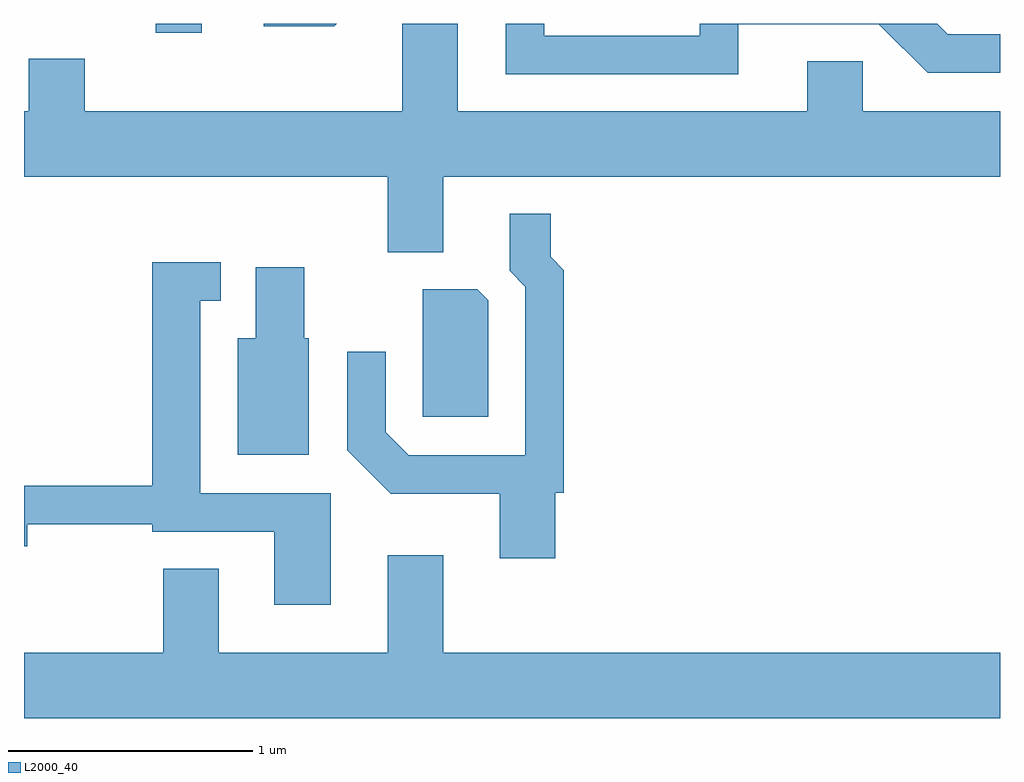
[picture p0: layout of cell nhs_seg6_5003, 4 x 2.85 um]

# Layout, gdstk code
import gdstk
lib = gdstk.Library(unit=1e-6, precision=1e-09)
def R(c, l, rs):  # rectangles x0, y0, x1, y1
    for r in rs: c.add(gdstk.rectangle(r[:2], r[2:], *l))
def P(c, l, *ps):  # polygons
    for p in ps: c.add(gdstk.Polygon(p, *l))
L2000_40 = (2000, 40)

nhs_seg6_5003 = lib.new_cell('nhs_seg6_5003')
R(nhs_seg6_5003, L2000_40, [(338.151,1606.126,338.339,1606.162)])
P(nhs_seg6_5003, L2000_40, [(339.329,1605.536),(341.611,1605.536),(341.611,1605.804),(341.049,1605.804),(341.049,1606.009),(340.821,1606.009),(340.821,1605.804),(339.389,1605.804),(339.389,1606.162),(339.161,1606.162),(339.161,1605.804),(337.859,1605.804),(337.859,1606.019),(337.631,1606.019),(337.631,1605.804),(337.611,1605.804),(337.611,1605.536),(339.101,1605.536),(339.101,1605.226),(339.329,1605.226)],
  [(340.539,1606.161),(341.114,1606.161),(341.314,1605.961),(341.611,1605.961),(341.611,1606.119),(341.397,1606.119),(341.354,1606.162),(340.381,1606.162),(340.381,1606.114),(339.744,1606.114),(339.744,1606.162),(339.586,1606.162),(339.586,1605.956),(340.539,1605.956)],
  [(338.893,1606.162),(338.593,1606.162),(338.593,1606.151),(338.882,1606.151)],
  [(339.789,1604.241),(339.824,1604.241),(339.824,1605.152),(339.769,1605.207),(339.769,1605.383),(339.601,1605.383),(339.601,1605.149),(339.666,1605.084),(339.666,1604.394),(339.187,1604.394),(339.094,1604.487),(339.094,1604.818),(338.936,1604.818),(338.936,1604.414),(339.114,1604.236),(339.561,1604.236),(339.561,1603.971),(339.789,1603.971)],
  [(338.869,1604.239),(338.334,1604.239),(338.334,1605.026),(338.418,1605.026),(338.418,1605.184),(338.136,1605.184),(338.136,1604.269),(337.611,1604.269),(337.611,1604.021),(337.624,1604.021),(337.624,1604.111),(338.136,1604.111),(338.136,1604.081),(338.636,1604.081),(338.636,1603.781),(338.869,1603.781)],
  [(338.779,1604.874),(338.759,1604.874),(338.759,1605.164),(338.561,1605.164),(338.561,1604.874),(338.486,1604.874),(338.486,1604.396),(338.779,1604.396)],
  [(339.514,1605.029),(339.469,1605.074),(339.246,1605.074),(339.246,1604.551),(339.514,1604.551)],
  [(341.611,1603.584),(339.329,1603.584),(339.329,1603.984),(339.101,1603.984),(339.101,1603.584),(338.409,1603.584),(338.409,1603.929),(338.181,1603.929),(338.181,1603.584),(337.611,1603.584),(337.611,1603.316),(341.611,1603.316)])

lib.write_gds('nhs_seg6_5003.gds')
